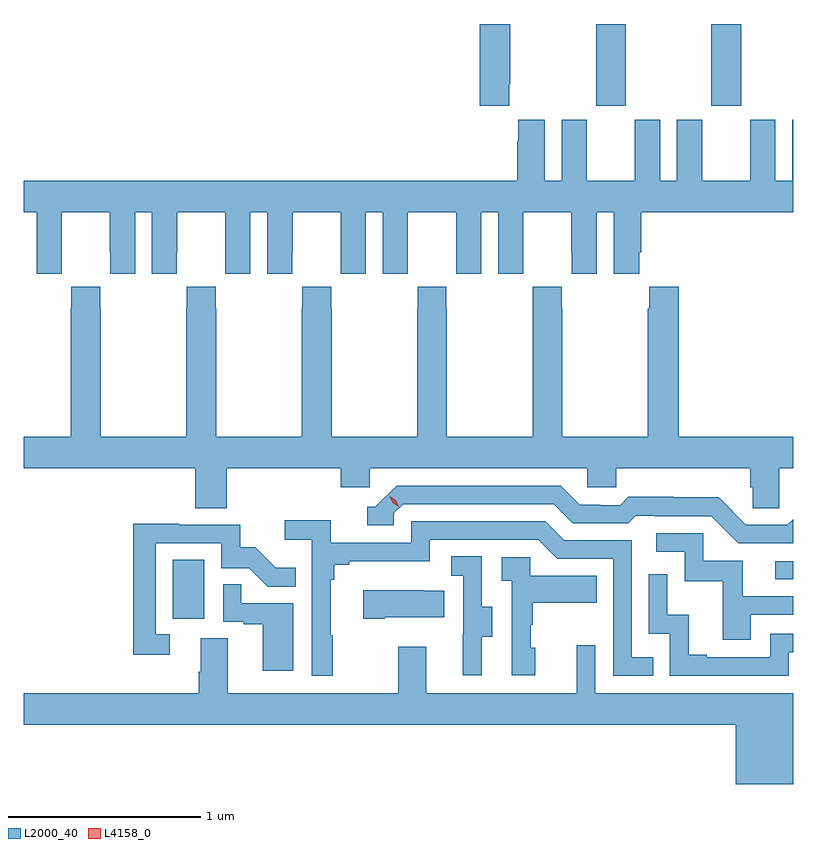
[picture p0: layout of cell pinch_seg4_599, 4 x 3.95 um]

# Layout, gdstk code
import gdstk
lib = gdstk.Library(unit=1e-6, precision=1e-09)
def R(c, l, rs):  # rectangles x0, y0, x1, y1
    for r in rs: c.add(gdstk.rectangle(r[:2], r[2:], *l))
def P(c, l, *ps):  # polygons
    for p in ps: c.add(gdstk.Polygon(p, *l))
L2000_40 = (2000, 40)
L4158_0 = (4158, 0)

pinch_seg4_599 = lib.new_cell('pinch_seg4_599')
R(pinch_seg4_599, L2000_40, [(1022.462,774.726,1022.626,775.033), (1025.595,774.933,1025.688,775.026), (1024.663,777.393,1024.818,777.819), (1025.263,777.393,1025.418,777.819)])
P(pinch_seg4_599, L2000_40, [(1024.213,777.505),(1024.218,777.505),(1024.218,777.819),(1024.058,777.819),(1024.058,777.393),(1024.213,777.393)],
  [(1021.884,776.632),(1021.885,776.632),(1021.885,776.84),(1022.135,776.84),(1022.135,776.632),(1022.136,776.632),(1022.136,776.52),(1022.266,776.52),(1022.266,776.84),(1022.354,776.84),(1022.354,776.52),(1022.484,776.52),(1022.484,776.632),(1022.485,776.632),(1022.485,776.84),(1022.735,776.84),(1022.735,776.632),(1022.736,776.632),(1022.736,776.52),(1022.866,776.52),(1022.866,776.84),(1022.954,776.84),(1022.954,776.52),(1023.084,776.52),(1023.084,776.632),(1023.085,776.632),(1023.085,776.84),(1023.335,776.84),(1023.335,776.632),(1023.336,776.632),(1023.336,776.52),(1023.466,776.52),(1023.466,776.84),(1023.554,776.84),(1023.554,776.52),(1023.684,776.52),(1023.684,776.632),(1023.685,776.632),(1023.685,776.84),(1023.935,776.84),(1023.935,776.632),(1023.936,776.632),(1023.936,776.52),(1024.066,776.52),(1024.066,776.84),(1024.154,776.84),(1024.154,776.52),(1024.284,776.52),(1024.284,776.632),(1024.285,776.632),(1024.285,776.84),(1024.535,776.84),(1024.535,776.632),(1024.536,776.632),(1024.536,776.52),(1024.666,776.52),(1024.666,776.84),(1024.754,776.84),(1024.754,776.52),(1024.888,776.52),(1024.888,776.632),(1024.898,776.632),(1024.898,776.84),(1025.688,776.84),(1025.688,777.322),(1025.684,777.322),(1025.684,777.004),(1025.596,777.004),(1025.596,777.322),(1025.465,777.322),(1025.465,777.004),(1025.215,777.004),(1025.215,777.322),(1025.084,777.322),(1025.084,777.004),(1024.996,777.004),(1024.996,777.322),(1024.865,777.322),(1024.865,777.004),(1024.615,777.004),(1024.615,777.322),(1024.484,777.322),(1024.484,777.004),(1024.396,777.004),(1024.396,777.322),(1024.259,777.322),(1024.259,777.209),(1024.253,777.209),(1024.253,777.004),(1021.688,777.004),(1021.688,776.84),(1021.754,776.84),(1021.754,776.52),(1021.884,776.52)],
  [(1022.688,776.339),(1022.685,776.339),(1022.685,776.452),(1022.535,776.452),(1022.535,776.339),(1022.533,776.339),(1022.533,775.672),(1022.088,775.672),(1022.088,776.339),(1022.085,776.339),(1022.085,776.452),(1021.935,776.452),(1021.935,776.339),(1021.933,776.339),(1021.933,775.672),(1021.688,775.672),(1021.688,775.508),(1022.579,775.508),(1022.579,775.3),(1022.744,775.3),(1022.744,775.508),(1023.335,775.508),(1023.335,775.41),(1023.486,775.41),(1023.486,775.508),(1024.617,775.508),(1024.617,775.41),(1024.767,775.41),(1024.767,775.508),(1025.465,775.508),(1025.465,775.41),(1025.479,775.41),(1025.479,775.3),(1025.616,775.3),(1025.616,775.508),(1025.688,775.508),(1025.688,775.672),(1025.093,775.672),(1025.093,776.452),(1024.939,776.452),(1024.939,776.339),(1024.933,776.339),(1024.933,775.672),(1024.488,775.672),(1024.488,776.339),(1024.485,776.339),(1024.485,776.452),(1024.335,776.452),(1024.335,776.339),(1024.333,776.339),(1024.333,775.672),(1023.888,775.672),(1023.888,776.339),(1023.885,776.339),(1023.885,776.452),(1023.735,776.452),(1023.735,776.339),(1023.733,776.339),(1023.733,775.672),(1023.288,775.672),(1023.288,776.339),(1023.285,776.339),(1023.285,776.452),(1023.135,776.452),(1023.135,776.339),(1023.133,776.339),(1023.133,775.672),(1022.688,775.672)],
  [(1025.688,775.245),(1025.658,775.215),(1025.442,775.215),(1025.3,775.357),(1025.064,775.357),(1025.064,775.36),(1024.831,775.36),(1024.789,775.317),(1024.686,775.317),(1024.686,775.32),(1024.579,775.32),(1024.48,775.419),(1023.627,775.419),(1023.516,775.308),(1023.473,775.308),(1023.473,775.212),(1023.612,775.212),(1023.612,775.275),(1023.66,775.323),(1024.443,775.323),(1024.542,775.224),(1024.831,775.224),(1024.87,775.263),(1024.969,775.263),(1024.969,775.26),(1025.262,775.26),(1025.403,775.119),(1025.688,775.119)],
  [(1023.295,774.641),(1023.283,774.641),(1023.283,774.929),(1023.302,774.929),(1023.302,775.006),(1023.379,775.006),(1023.379,775.025),(1023.798,775.025),(1023.798,775.137),(1024.362,775.137),(1024.461,775.038),(1024.752,775.038),(1024.752,774.429),(1024.961,774.429),(1024.961,774.525),(1024.848,774.525),(1024.848,775.134),(1024.498,775.134),(1024.399,775.233),(1023.702,775.233),(1023.702,775.122),(1023.284,775.122),(1023.284,775.238),(1023.045,775.238),(1023.045,775.136),(1023.186,775.136),(1023.186,774.429),(1023.295,774.429)],
  [(1022.446,774.645),(1022.373,774.645),(1022.373,775.119),(1022.715,775.119),(1022.715,774.99),(1022.859,774.99),(1022.957,774.892),(1023.101,774.892),(1023.101,774.991),(1022.997,774.991),(1022.89,775.098),(1022.814,775.098),(1022.814,775.215),(1022.495,775.215),(1022.495,775.22),(1022.257,775.22),(1022.257,774.54),(1022.446,774.54)],
  [(1025.467,774.747),(1025.688,774.747),(1025.688,774.843),(1025.425,774.843),(1025.425,775.029),(1025.22,775.029),(1025.22,775.17),(1024.977,775.17),(1024.977,775.074),(1025.124,775.074),(1025.124,774.921),(1025.323,774.921),(1025.323,774.618),(1025.467,774.618)],
  [(1024.069,774.634),(1024.123,774.634),(1024.123,774.789),(1024.068,774.789),(1024.068,775.052),(1023.909,775.052),(1023.909,774.949),(1023.972,774.949),(1023.972,774.645),(1023.971,774.645),(1023.971,774.432),(1024.069,774.432)],
  [(1024.348,774.576),(1024.323,774.576),(1024.323,774.695),(1024.333,774.695),(1024.333,774.809),(1024.667,774.809),(1024.667,774.949),(1024.32,774.949),(1024.32,775.047),(1024.173,775.047),(1024.173,774.923),(1024.224,774.923),(1024.224,774.432),(1024.348,774.432)],
  [(1025.664,774.552),(1025.688,774.552),(1025.688,774.648),(1025.568,774.648),(1025.568,774.525),(1025.239,774.525),(1025.239,774.538),(1025.144,774.538),(1025.144,774.746),(1025.034,774.746),(1025.034,774.958),(1024.938,774.958),(1024.938,774.648),(1025.046,774.648),(1025.046,774.429),(1025.664,774.429)],
  [(1023.088,774.807),(1022.819,774.807),(1022.819,774.905),(1022.724,774.905),(1022.724,774.711),(1022.831,774.711),(1022.831,774.699),(1022.93,774.699),(1022.93,774.456),(1023.088,774.456)],
  [(1023.565,774.734),(1023.875,774.734),(1023.875,774.871),(1023.767,774.871),(1023.767,774.874),(1023.453,774.874),(1023.453,774.727),(1023.565,774.727)],
  [(1025.39,773.867),(1025.688,773.867),(1025.688,774.34),(1024.659,774.34),(1024.659,774.589),(1024.562,774.589),(1024.562,774.34),(1023.781,774.34),(1023.781,774.58),(1023.634,774.58),(1023.634,774.34),(1022.749,774.34),(1022.749,774.626),(1022.609,774.626),(1022.609,774.452),(1022.597,774.452),(1022.597,774.34),(1021.688,774.34),(1021.688,774.176),(1025.39,774.176)])
P(pinch_seg4_599, L4158_0, [(1023.637,775.31),(1023.607,775.33),(1023.591,775.363),(1023.591,775.363),(1023.591,775.363),(1023.622,775.343),(1023.638,775.31),(1023.638,775.31)])

lib.write_gds('pinch_seg4_599.gds')
